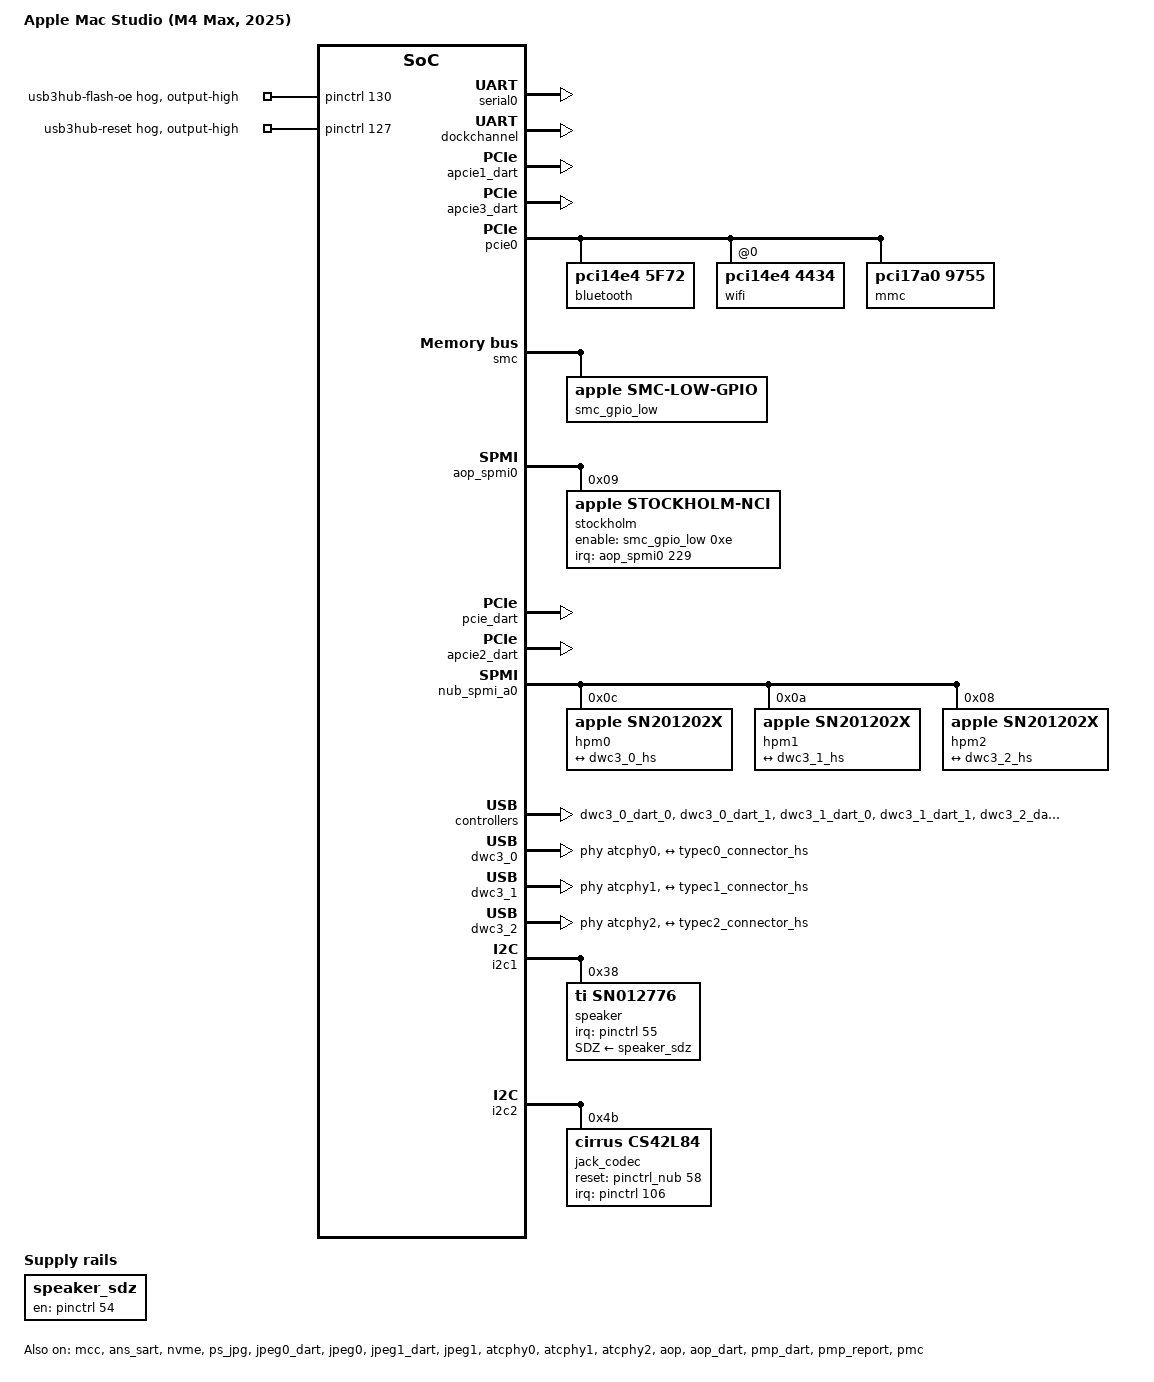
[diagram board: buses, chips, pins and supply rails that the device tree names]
// SPDX-License-Identifier: GPL-2.0+ OR MIT
/*
 * Mac Studio (M4 Max, 2025)
 *
 * target-type: J575c
 *
 * The J616c's T6041 wiring with the desktop layout of the J773s and the
 * other Mac Studio trees, checked against the J575c ADT (macOS 27.0.1,
 * 26A434). Comments name the ADT node a value comes from.
 *
 * Copyright The Asahi Linux Contributors
 */

/dts-v1/;

#include "t6041.dtsi"
#include "t6041-j614-j616-j575-scaler.dtsi"
#include "t604x-j575-j773.dtsi"
#include "t6041-j616c-ane.dtsi"
#include <dt-bindings/gpio/gpio.h>
#include <dt-bindings/thermal/thermal.h>

/ {
	compatible = "apple,j575c", "apple,t6041", "apple,arm-platform";
	model = "Apple Mac Studio (M4 Max, 2025)";

	aliases {
		serial0 = &dockchannel;
		serial1 = &serial0;
		wifi0 = "/pcie@1cb0000000/pci@0,0/wifi@0,0";
		bluetooth0 = "/pcie@1cb0000000/pci@0,0/bluetooth@0,1";
		ethernet0 = &ethernet0;
		gpu = &gpu;
		pmp = &pmp;
		aop = &aop;
		dcp = &dcp;
		disp0 = &display;
		disp0-piodma = &disp0_piodma;
	};

	chosen {
		stdout-path = "serial0:115200n8";
	};

	reserved-memory {
		#address-cells = <2>;
		#size-cells = <2>;
		ranges;
	};

	serial0: serial@429200000 {
		compatible = "apple,s5l-uart";
		reg = <0x4 0x29200000 0x0 0x1000>;
		reg-io-width = <4>;
		interrupt-parent = <&aic>;
		interrupts = <AIC_IRQ 1559 IRQ_TYPE_LEVEL_HIGH>;
		clocks = <&clkref>, <&clkref>;
		clock-names = "uart", "clk_uart_baud0";
	};

	/*
	 * DockChannel channel 1, the console the USB debug link carries
	 * (macvdmtool debugusb). ADT /arm-io/dockchannel-uart: block at
	 * 0x5_0882_8000 with one 0x10000 stride per channel, interrupt window
	 * 0x5_0880_c000 (0x18), IRQ 360, enable-sw-drain. Nothing drains it
	 * unless a host reads the link, so TX must never wait.
	 */
	dockchannel: serial@50883c000 {
		compatible = "apple,dockchannel-uart";
		reg = <0x5 0x0883c000 0x0 0x4000>,
		      <0x5 0x08838000 0x0 0x4000>,
		      <0x5 0x0880c000 0x0 0x18>;
		reg-names = "data", "config", "irq";
		interrupt-parent = <&aic>;
		interrupts = <AIC_IRQ 360 IRQ_TYPE_LEVEL_HIGH>;
		apple,channel = <1>;
		apple,sw-drain;
		apple,tx-never-wait;
	};

	/*
	 * The M4 Max MacBook Pros' CPU zones (t6041-j614c-j616c.dtsi): the same
	 * T6041, the same SMC sensor keys in the same order, the same ADT die
	 * limits. The PMP fast die loop runs in front of them, as there.
	 */
	thermal-zones {
		/*
		 * The PMP's fast die-temperature loop (apple,fast-die-effort)
		 * holds its hot-spot sensors at the ADT fast-die-ctrl-loop target
		 * of 110 C, as on macOS, and these zones are the backstop behind
		 * it. The ADT (temp-sensor) gives the J614c and J616c the M4
		 * Pro's die limits: 110 C target, 125 C maximum (sochot).
		 *
		 * - The SMC sensors read a few degrees above the PMP's: with the
		 *   PMP alone, an all-core load holds TCMz at 112 C. The zones
		 *   switch on at 112 C and control at 116 C, so the PMP keeps the
		 *   fast control. Switched on from 75 C, the power allocator
		 *   trimmed far below its control point and took over: it held
		 *   the E cluster at 1.02 GHz, which the PMP leaves at 2.59 GHz.
		 * - A zone per SMC core-die sensor throttles only the cluster its
		 *   sensor sits on: Tpx0-5 follow a load on P0, Tpx8-D one on P1,
		 *   Tex0-3 the E cluster. The die zone on TCMz, their maximum,
		 *   throttles all three. The 1 s samples jump by about 10 C, so
		 *   the zones are integral-led.
		 * - The SMC fans follow a power-weighted hot spot (dDT*), not
		 *   TCMz, and ramp once the CPU runs near 110 C at high power, as
		 *   on macOS.
		 * - sustainable-power is what macOS sustained on a J614c under an
		 *   all-core FMA load: 48-51 W, TCMz 105-110 C. The P clusters
		 *   share one rail meter (PHPC), which reads 25 W with either
		 *   cluster loaded alone, and the E cluster adds about 2 W: 24 W
		 *   per P cluster and 2 W for E.
		 * - Hot at 120 C only reports; critical is the sochot level, after
		 *   three samples.
		 */
		cpu-die-thermal {
			polling-delay-passive = <1000>;
			polling-delay = <1000>;
			integral-time-constant-ms = <20000>;
			critical-samples = <3>;
			sustainable-power = <48000>;
			thermal-sensors = <&smc_hwmon 0>;	/* TCMz */

			trips {
				cpu_die_switch_on: cpu-die-switch-on {
					temperature = <112000>;
					hysteresis = <2000>;
					type = "passive";
				};

				cpu_die_passive: cpu-die-passive {
					temperature = <116000>;
					hysteresis = <5000>;
					type = "passive";
				};

				cpu-die-hot {
					temperature = <120000>;
					hysteresis = <2000>;
					type = "hot";
				};

				cpu-die-critical {
					temperature = <125000>;
					hysteresis = <0>;
					type = "critical";
				};
			};

			cooling-maps {
				map-e {
					trip = <&cpu_die_passive>;
					cooling-device =
						<&cpu_e0 THERMAL_NO_LIMIT THERMAL_NO_LIMIT>,
						<&cpu_e1 THERMAL_NO_LIMIT THERMAL_NO_LIMIT>,
						<&cpu_e2 THERMAL_NO_LIMIT THERMAL_NO_LIMIT>,
						<&cpu_e3 THERMAL_NO_LIMIT THERMAL_NO_LIMIT>;
				};

				map-p0 {
					trip = <&cpu_die_passive>;
					cooling-device =
						<&cpu_p00 THERMAL_NO_LIMIT THERMAL_NO_LIMIT>,
						<&cpu_p01 THERMAL_NO_LIMIT THERMAL_NO_LIMIT>,
						<&cpu_p02 THERMAL_NO_LIMIT THERMAL_NO_LIMIT>,
						<&cpu_p03 THERMAL_NO_LIMIT THERMAL_NO_LIMIT>,
						<&cpu_p04 THERMAL_NO_LIMIT THERMAL_NO_LIMIT>,
						<&cpu_p05 THERMAL_NO_LIMIT THERMAL_NO_LIMIT>;
				};

				map-p1 {
					trip = <&cpu_die_passive>;
					cooling-device =
						<&cpu_p10 THERMAL_NO_LIMIT THERMAL_NO_LIMIT>,
						<&cpu_p11 THERMAL_NO_LIMIT THERMAL_NO_LIMIT>,
						<&cpu_p12 THERMAL_NO_LIMIT THERMAL_NO_LIMIT>,
						<&cpu_p13 THERMAL_NO_LIMIT THERMAL_NO_LIMIT>,
						<&cpu_p14 THERMAL_NO_LIMIT THERMAL_NO_LIMIT>,
						<&cpu_p15 THERMAL_NO_LIMIT THERMAL_NO_LIMIT>;
				};
			};
		};

		cpu-e0-thermal {
			polling-delay-passive = <1000>;
			polling-delay = <1000>;
			integral-time-constant-ms = <20000>;
			critical-samples = <3>;
			sustainable-power = <2000>;
			thermal-sensors = <&smc_hwmon 14>;	/* Tex0 */

			trips {
				cpu_e0_switch_on: trip-switch-on {
					temperature = <112000>;
					hysteresis = <2000>;
					type = "passive";
				};

				cpu_e0_passive: trip-passive {
					temperature = <116000>;
					hysteresis = <5000>;
					type = "passive";
				};

				trip-hot {
					temperature = <120000>;
					hysteresis = <2000>;
					type = "hot";
				};

				trip-critical {
					temperature = <125000>;
					hysteresis = <0>;
					type = "critical";
				};
			};

			cooling-maps {
				map-e {
					trip = <&cpu_e0_passive>;
					cooling-device =
						<&cpu_e0 THERMAL_NO_LIMIT THERMAL_NO_LIMIT>,
						<&cpu_e1 THERMAL_NO_LIMIT THERMAL_NO_LIMIT>,
						<&cpu_e2 THERMAL_NO_LIMIT THERMAL_NO_LIMIT>,
						<&cpu_e3 THERMAL_NO_LIMIT THERMAL_NO_LIMIT>;
				};
			};
		};

		cpu-e1-thermal {
			polling-delay-passive = <1000>;
			polling-delay = <1000>;
			integral-time-constant-ms = <20000>;
			critical-samples = <3>;
			sustainable-power = <2000>;
			thermal-sensors = <&smc_hwmon 15>;	/* Tex1 */

			trips {
				cpu_e1_switch_on: trip-switch-on {
					temperature = <112000>;
					hysteresis = <2000>;
					type = "passive";
				};

				cpu_e1_passive: trip-passive {
					temperature = <116000>;
					hysteresis = <5000>;
					type = "passive";
				};

				trip-hot {
					temperature = <120000>;
					hysteresis = <2000>;
					type = "hot";
				};

				trip-critical {
					temperature = <125000>;
					hysteresis = <0>;
					type = "critical";
				};
			};

			cooling-maps {
				map-e {
					trip = <&cpu_e1_passive>;
					cooling-device =
						<&cpu_e0 THERMAL_NO_LIMIT THERMAL_NO_LIMIT>,
						<&cpu_e1 THERMAL_NO_LIMIT THERMAL_NO_LIMIT>,
						<&cpu_e2 THERMAL_NO_LIMIT THERMAL_NO_LIMIT>,
						<&cpu_e3 THERMAL_NO_LIMIT THERMAL_NO_LIMIT>;
				};
			};
		};

		cpu-e2-thermal {
			polling-delay-passive = <1000>;
			polling-delay = <1000>;
			integral-time-constant-ms = <20000>;
			critical-samples = <3>;
			sustainable-power = <2000>;
			thermal-sensors = <&smc_hwmon 16>;	/* Tex2 */

			trips {
				cpu_e2_switch_on: trip-switch-on {
					temperature = <112000>;
					hysteresis = <2000>;
					type = "passive";
				};

				cpu_e2_passive: trip-passive {
					temperature = <116000>;
					hysteresis = <5000>;
					type = "passive";
				};

				trip-hot {
					temperature = <120000>;
					hysteresis = <2000>;
					type = "hot";
				};

				trip-critical {
					temperature = <125000>;
					hysteresis = <0>;
					type = "critical";
				};
			};

			cooling-maps {
				map-e {
					trip = <&cpu_e2_passive>;
					cooling-device =
						<&cpu_e0 THERMAL_NO_LIMIT THERMAL_NO_LIMIT>,
						<&cpu_e1 THERMAL_NO_LIMIT THERMAL_NO_LIMIT>,
						<&cpu_e2 THERMAL_NO_LIMIT THERMAL_NO_LIMIT>,
						<&cpu_e3 THERMAL_NO_LIMIT THERMAL_NO_LIMIT>;
				};
			};
		};

		cpu-e3-thermal {
			polling-delay-passive = <1000>;
			polling-delay = <1000>;
			integral-time-constant-ms = <20000>;
			critical-samples = <3>;
			sustainable-power = <2000>;
			thermal-sensors = <&smc_hwmon 17>;	/* Tex3 */

			trips {
				cpu_e3_switch_on: trip-switch-on {
					temperature = <112000>;
					hysteresis = <2000>;
					type = "passive";
				};

				cpu_e3_passive: trip-passive {
					temperature = <116000>;
					hysteresis = <5000>;
					type = "passive";
				};

				trip-hot {
					temperature = <120000>;
					hysteresis = <2000>;
					type = "hot";
				};

				trip-critical {
					temperature = <125000>;
					hysteresis = <0>;
					type = "critical";
				};
			};

			cooling-maps {
				map-e {
					trip = <&cpu_e3_passive>;
					cooling-device =
						<&cpu_e0 THERMAL_NO_LIMIT THERMAL_NO_LIMIT>,
						<&cpu_e1 THERMAL_NO_LIMIT THERMAL_NO_LIMIT>,
						<&cpu_e2 THERMAL_NO_LIMIT THERMAL_NO_LIMIT>,
						<&cpu_e3 THERMAL_NO_LIMIT THERMAL_NO_LIMIT>;
				};
			};
		};

		cpu-p00-thermal {
			polling-delay-passive = <1000>;
			polling-delay = <1000>;
			integral-time-constant-ms = <20000>;
			critical-samples = <3>;
			sustainable-power = <24000>;
			thermal-sensors = <&smc_hwmon 2>;	/* Tpx0 */

			trips {
				cpu_p00_switch_on: trip-switch-on {
					temperature = <112000>;
					hysteresis = <2000>;
					type = "passive";
				};

				cpu_p00_passive: trip-passive {
					temperature = <116000>;
					hysteresis = <5000>;
					type = "passive";
				};

				trip-hot {
					temperature = <120000>;
					hysteresis = <2000>;
					type = "hot";
				};

				trip-critical {
					temperature = <125000>;
					hysteresis = <0>;
					type = "critical";
				};
			};

			cooling-maps {
				map-p0 {
					trip = <&cpu_p00_passive>;
					cooling-device =
						<&cpu_p00 THERMAL_NO_LIMIT THERMAL_NO_LIMIT>,
						<&cpu_p01 THERMAL_NO_LIMIT THERMAL_NO_LIMIT>,
						<&cpu_p02 THERMAL_NO_LIMIT THERMAL_NO_LIMIT>,
						<&cpu_p03 THERMAL_NO_LIMIT THERMAL_NO_LIMIT>,
						<&cpu_p04 THERMAL_NO_LIMIT THERMAL_NO_LIMIT>,
						<&cpu_p05 THERMAL_NO_LIMIT THERMAL_NO_LIMIT>;
				};
			};
		};

		cpu-p01-thermal {
			polling-delay-passive = <1000>;
			polling-delay = <1000>;
			integral-time-constant-ms = <20000>;
			critical-samples = <3>;
			sustainable-power = <24000>;
			thermal-sensors = <&smc_hwmon 3>;	/* Tpx1 */

			trips {
				cpu_p01_switch_on: trip-switch-on {
					temperature = <112000>;
					hysteresis = <2000>;
					type = "passive";
				};

				cpu_p01_passive: trip-passive {
					temperature = <116000>;
					hysteresis = <5000>;
					type = "passive";
				};

				trip-hot {
					temperature = <120000>;
					hysteresis = <2000>;
					type = "hot";
				};

				trip-critical {
					temperature = <125000>;
					hysteresis = <0>;
					type = "critical";
				};
			};

			cooling-maps {
				map-p0 {
					trip = <&cpu_p01_passive>;
					cooling-device =
						<&cpu_p00 THERMAL_NO_LIMIT THERMAL_NO_LIMIT>,
						<&cpu_p01 THERMAL_NO_LIMIT THERMAL_NO_LIMIT>,
						<&cpu_p02 THERMAL_NO_LIMIT THERMAL_NO_LIMIT>,
						<&cpu_p03 THERMAL_NO_LIMIT THERMAL_NO_LIMIT>,
						<&cpu_p04 THERMAL_NO_LIMIT THERMAL_NO_LIMIT>,
						<&cpu_p05 THERMAL_NO_LIMIT THERMAL_NO_LIMIT>;
				};
			};
		};

		cpu-p02-thermal {
			polling-delay-passive = <1000>;
			polling-delay = <1000>;
			integral-time-constant-ms = <20000>;
			critical-samples = <3>;
			sustainable-power = <24000>;
			thermal-sensors = <&smc_hwmon 4>;	/* Tpx2 */

			trips {
				cpu_p02_switch_on: trip-switch-on {
					temperature = <112000>;
					hysteresis = <2000>;
					type = "passive";
				};

				cpu_p02_passive: trip-passive {
					temperature = <116000>;
					hysteresis = <5000>;
					type = "passive";
				};

				trip-hot {
					temperature = <120000>;
					hysteresis = <2000>;
					type = "hot";
				};

				trip-critical {
					temperature = <125000>;
					hysteresis = <0>;
					type = "critical";
				};
			};

			cooling-maps {
				map-p0 {
					trip = <&cpu_p02_passive>;
					cooling-device =
						<&cpu_p00 THERMAL_NO_LIMIT THERMAL_NO_LIMIT>,
						<&cpu_p01 THERMAL_NO_LIMIT THERMAL_NO_LIMIT>,
						<&cpu_p02 THERMAL_NO_LIMIT THERMAL_NO_LIMIT>,
						<&cpu_p03 THERMAL_NO_LIMIT THERMAL_NO_LIMIT>,
						<&cpu_p04 THERMAL_NO_LIMIT THERMAL_NO_LIMIT>,
						<&cpu_p05 THERMAL_NO_LIMIT THERMAL_NO_LIMIT>;
				};
			};
		};

		cpu-p03-thermal {
			polling-delay-passive = <1000>;
			polling-delay = <1000>;
			integral-time-constant-ms = <20000>;
			critical-samples = <3>;
			sustainable-power = <24000>;
			thermal-sensors = <&smc_hwmon 5>;	/* Tpx3 */

			trips {
				cpu_p03_switch_on: trip-switch-on {
					temperature = <112000>;
					hysteresis = <2000>;
					type = "passive";
				};

				cpu_p03_passive: trip-passive {
					temperature = <116000>;
					hysteresis = <5000>;
					type = "passive";
				};

				trip-hot {
					temperature = <120000>;
					hysteresis = <2000>;
					type = "hot";
				};

				trip-critical {
					temperature = <125000>;
					hysteresis = <0>;
					type = "critical";
				};
			};

			cooling-maps {
				map-p0 {
					trip = <&cpu_p03_passive>;
					cooling-device =
						<&cpu_p00 THERMAL_NO_LIMIT THERMAL_NO_LIMIT>,
						<&cpu_p01 THERMAL_NO_LIMIT THERMAL_NO_LIMIT>,
						<&cpu_p02 THERMAL_NO_LIMIT THERMAL_NO_LIMIT>,
						<&cpu_p03 THERMAL_NO_LIMIT THERMAL_NO_LIMIT>,
						<&cpu_p04 THERMAL_NO_LIMIT THERMAL_NO_LIMIT>,
						<&cpu_p05 THERMAL_NO_LIMIT THERMAL_NO_LIMIT>;
				};
			};
		};

		cpu-p04-thermal {
			polling-delay-passive = <1000>;
			polling-delay = <1000>;
			integral-time-constant-ms = <20000>;
			critical-samples = <3>;
			sustainable-power = <24000>;
			thermal-sensors = <&smc_hwmon 6>;	/* Tpx4 */

			trips {
				cpu_p04_switch_on: trip-switch-on {
					temperature = <112000>;
					hysteresis = <2000>;
					type = "passive";
				};

				cpu_p04_passive: trip-passive {
					temperature = <116000>;
					hysteresis = <5000>;
					type = "passive";
				};

				trip-hot {
					temperature = <120000>;
					hysteresis = <2000>;
					type = "hot";
				};

				trip-critical {
					temperature = <125000>;
					hysteresis = <0>;
					type = "critical";
				};
			};

			cooling-maps {
				map-p0 {
					trip = <&cpu_p04_passive>;
					cooling-device =
						<&cpu_p00 THERMAL_NO_LIMIT THERMAL_NO_LIMIT>,
						<&cpu_p01 THERMAL_NO_LIMIT THERMAL_NO_LIMIT>,
						<&cpu_p02 THERMAL_NO_LIMIT THERMAL_NO_LIMIT>,
						<&cpu_p03 THERMAL_NO_LIMIT THERMAL_NO_LIMIT>,
						<&cpu_p04 THERMAL_NO_LIMIT THERMAL_NO_LIMIT>,
						<&cpu_p05 THERMAL_NO_LIMIT THERMAL_NO_LIMIT>;
				};
			};
		};

		cpu-p05-thermal {
			polling-delay-passive = <1000>;
			polling-delay = <1000>;
			integral-time-constant-ms = <20000>;
			critical-samples = <3>;
			sustainable-power = <24000>;
			thermal-sensors = <&smc_hwmon 7>;	/* Tpx5 */

			trips {
				cpu_p05_switch_on: trip-switch-on {
					temperature = <112000>;
					hysteresis = <2000>;
					type = "passive";
				};

				cpu_p05_passive: trip-passive {
					temperature = <116000>;
					hysteresis = <5000>;
					type = "passive";
				};

				trip-hot {
					temperature = <120000>;
					hysteresis = <2000>;
					type = "hot";
				};

				trip-critical {
					temperature = <125000>;
					hysteresis = <0>;
					type = "critical";
				};
			};

			cooling-maps {
				map-p0 {
					trip = <&cpu_p05_passive>;
					cooling-device =
						<&cpu_p00 THERMAL_NO_LIMIT THERMAL_NO_LIMIT>,
						<&cpu_p01 THERMAL_NO_LIMIT THERMAL_NO_LIMIT>,
						<&cpu_p02 THERMAL_NO_LIMIT THERMAL_NO_LIMIT>,
						<&cpu_p03 THERMAL_NO_LIMIT THERMAL_NO_LIMIT>,
						<&cpu_p04 THERMAL_NO_LIMIT THERMAL_NO_LIMIT>,
						<&cpu_p05 THERMAL_NO_LIMIT THERMAL_NO_LIMIT>;
				};
			};
		};

		cpu-p10-thermal {
			polling-delay-passive = <1000>;
			polling-delay = <1000>;
			integral-time-constant-ms = <20000>;
			critical-samples = <3>;
			sustainable-power = <24000>;
			thermal-sensors = <&smc_hwmon 8>;	/* Tpx8 */

			trips {
				cpu_p10_switch_on: trip-switch-on {
					temperature = <112000>;
					hysteresis = <2000>;
					type = "passive";
				};

				cpu_p10_passive: trip-passive {
					temperature = <116000>;
					hysteresis = <5000>;
					type = "passive";
				};

				trip-hot {
					temperature = <120000>;
					hysteresis = <2000>;
					type = "hot";
				};

				trip-critical {
					temperature = <125000>;
					hysteresis = <0>;
					type = "critical";
				};
			};

			cooling-maps {
				map-p1 {
					trip = <&cpu_p10_passive>;
					cooling-device =
						<&cpu_p10 THERMAL_NO_LIMIT THERMAL_NO_LIMIT>,
						<&cpu_p11 THERMAL_NO_LIMIT THERMAL_NO_LIMIT>,
						<&cpu_p12 THERMAL_NO_LIMIT THERMAL_NO_LIMIT>,
						<&cpu_p13 THERMAL_NO_LIMIT THERMAL_NO_LIMIT>,
						<&cpu_p14 THERMAL_NO_LIMIT THERMAL_NO_LIMIT>,
						<&cpu_p15 THERMAL_NO_LIMIT THERMAL_NO_LIMIT>;
				};
			};
		};

		cpu-p11-thermal {
			polling-delay-passive = <1000>;
			polling-delay = <1000>;
			integral-time-constant-ms = <20000>;
			critical-samples = <3>;
			sustainable-power = <24000>;
			thermal-sensors = <&smc_hwmon 9>;	/* Tpx9 */

			trips {
				cpu_p11_switch_on: trip-switch-on {
					temperature = <112000>;
					hysteresis = <2000>;
					type = "passive";
				};

				cpu_p11_passive: trip-passive {
					temperature = <116000>;
					hysteresis = <5000>;
					type = "passive";
				};

				trip-hot {
					temperature = <120000>;
					hysteresis = <2000>;
					type = "hot";
				};

				trip-critical {
					temperature = <125000>;
					hysteresis = <0>;
					type = "critical";
				};
			};

			cooling-maps {
				map-p1 {
					trip = <&cpu_p11_passive>;
					cooling-device =
						<&cpu_p10 THERMAL_NO_LIMIT THERMAL_NO_LIMIT>,
						<&cpu_p11 THERMAL_NO_LIMIT THERMAL_NO_LIMIT>,
						<&cpu_p12 THERMAL_NO_LIMIT THERMAL_NO_LIMIT>,
						<&cpu_p13 THERMAL_NO_LIMIT THERMAL_NO_LIMIT>,
						<&cpu_p14 THERMAL_NO_LIMIT THERMAL_NO_LIMIT>,
						<&cpu_p15 THERMAL_NO_LIMIT THERMAL_NO_LIMIT>;
				};
			};
		};

		cpu-p12-thermal {
			polling-delay-passive = <1000>;
			polling-delay = <1000>;
			integral-time-constant-ms = <20000>;
			critical-samples = <3>;
			sustainable-power = <24000>;
			thermal-sensors = <&smc_hwmon 10>;	/* TpxA */

			trips {
				cpu_p12_switch_on: trip-switch-on {
					temperature = <112000>;
					hysteresis = <2000>;
					type = "passive";
				};

				cpu_p12_passive: trip-passive {
					temperature = <116000>;
					hysteresis = <5000>;
					type = "passive";
				};

				trip-hot {
					temperature = <120000>;
					hysteresis = <2000>;
					type = "hot";
				};

				trip-critical {
					temperature = <125000>;
					hysteresis = <0>;
					type = "critical";
				};
			};

			cooling-maps {
				map-p1 {
					trip = <&cpu_p12_passive>;
					cooling-device =
						<&cpu_p10 THERMAL_NO_LIMIT THERMAL_NO_LIMIT>,
						<&cpu_p11 THERMAL_NO_LIMIT THERMAL_NO_LIMIT>,
						<&cpu_p12 THERMAL_NO_LIMIT THERMAL_NO_LIMIT>,
						<&cpu_p13 THERMAL_NO_LIMIT THERMAL_NO_LIMIT>,
						<&cpu_p14 THERMAL_NO_LIMIT THERMAL_NO_LIMIT>,
						<&cpu_p15 THERMAL_NO_LIMIT THERMAL_NO_LIMIT>;
				};
			};
		};

		cpu-p13-thermal {
			polling-delay-passive = <1000>;
			polling-delay = <1000>;
			integral-time-constant-ms = <20000>;
			critical-samples = <3>;
			sustainable-power = <24000>;
			thermal-sensors = <&smc_hwmon 11>;	/* TpxB */

			trips {
				cpu_p13_switch_on: trip-switch-on {
					temperature = <112000>;
					hysteresis = <2000>;
					type = "passive";
				};

				cpu_p13_passive: trip-passive {
					temperature = <116000>;
					hysteresis = <5000>;
					type = "passive";
				};

				trip-hot {
					temperature = <120000>;
					hysteresis = <2000>;
					type = "hot";
				};

				trip-critical {
					temperature = <125000>;
					hysteresis = <0>;
					type = "critical";
				};
			};

			cooling-maps {
				map-p1 {
					trip = <&cpu_p13_passive>;
					cooling-device =
						<&cpu_p10 THERMAL_NO_LIMIT THERMAL_NO_LIMIT>,
						<&cpu_p11 THERMAL_NO_LIMIT THERMAL_NO_LIMIT>,
						<&cpu_p12 THERMAL_NO_LIMIT THERMAL_NO_LIMIT>,
						<&cpu_p13 THERMAL_NO_LIMIT THERMAL_NO_LIMIT>,
						<&cpu_p14 THERMAL_NO_LIMIT THERMAL_NO_LIMIT>,
						<&cpu_p15 THERMAL_NO_LIMIT THERMAL_NO_LIMIT>;
				};
			};
		};

		cpu-p14-thermal {
			polling-delay-passive = <1000>;
			polling-delay = <1000>;
			integral-time-constant-ms = <20000>;
			critical-samples = <3>;
			sustainable-power = <24000>;
			thermal-sensors = <&smc_hwmon 12>;	/* TpxC */

			trips {
				cpu_p14_switch_on: trip-switch-on {
					temperature = <112000>;
					hysteresis = <2000>;
					type = "passive";
				};

				cpu_p14_passive: trip-passive {
					temperature = <116000>;
					hysteresis = <5000>;
					type = "passive";
				};

				trip-hot {
					temperature = <120000>;
					hysteresis = <2000>;
					type = "hot";
				};

				trip-critical {
					temperature = <125000>;
					hysteresis = <0>;
					type = "critical";
				};
			};

			cooling-maps {
				map-p1 {
					trip = <&cpu_p14_passive>;
					cooling-device =
						<&cpu_p10 THERMAL_NO_LIMIT THERMAL_NO_LIMIT>,
						<&cpu_p11 THERMAL_NO_LIMIT THERMAL_NO_LIMIT>,
						<&cpu_p12 THERMAL_NO_LIMIT THERMAL_NO_LIMIT>,
						<&cpu_p13 THERMAL_NO_LIMIT THERMAL_NO_LIMIT>,
						<&cpu_p14 THERMAL_NO_LIMIT THERMAL_NO_LIMIT>,
						<&cpu_p15 THERMAL_NO_LIMIT THERMAL_NO_LIMIT>;
				};
			};
		};

		cpu-p15-thermal {
			polling-delay-passive = <1000>;
			polling-delay = <1000>;
			integral-time-constant-ms = <20000>;
			critical-samples = <3>;
			sustainable-power = <24000>;
			thermal-sensors = <&smc_hwmon 13>;	/* TpxD */

			trips {
				cpu_p15_switch_on: trip-switch-on {
					temperature = <112000>;
					hysteresis = <2000>;
					type = "passive";
				};

				cpu_p15_passive: trip-passive {
					temperature = <116000>;
					hysteresis = <5000>;
					type = "passive";
				};

				trip-hot {
					temperature = <120000>;
					hysteresis = <2000>;
					type = "hot";
				};

				trip-critical {
					temperature = <125000>;
					hysteresis = <0>;
					type = "critical";
				};
			};

			cooling-maps {
				map-p1 {
					trip = <&cpu_p15_passive>;
					cooling-device =
						<&cpu_p10 THERMAL_NO_LIMIT THERMAL_NO_LIMIT>,
						<&cpu_p11 THERMAL_NO_LIMIT THERMAL_NO_LIMIT>,
						<&cpu_p12 THERMAL_NO_LIMIT THERMAL_NO_LIMIT>,
						<&cpu_p13 THERMAL_NO_LIMIT THERMAL_NO_LIMIT>,
						<&cpu_p14 THERMAL_NO_LIMIT THERMAL_NO_LIMIT>,
						<&cpu_p15 THERMAL_NO_LIMIT THERMAL_NO_LIMIT>;
				};
			};
		};
	};
};

&cpuidle {
	status = "okay";
};

&wdt {
	timeout-sec = <140>;
};

&smc {
	status = "okay";

	smc_gpio_low: gpio-low {
		compatible = "apple,smc-low-gpio";
		gpio-controller;
		#gpio-cells = <2>;
		apple,output-templates = <0xe 0x00800000>;
	};
};

/*
 * ADT aop-spmi0/stockholm-spmi: the Stockholm NFC controller at SPMI 9, its
 * interrupts in 224-230 and its enable on SMC gp0e, as on the J773s.
 */
&aop_spmi0 {
	status = "okay";

	stockholm: nfc@9 {
		compatible = "apple,stockholm-nci";
		reg = <9 SPMI_USID>;
		interrupt-parent = <&aop_spmi0>;
		interrupts = <229 IRQ_TYPE_EDGE_RISING>,
			     <230 IRQ_TYPE_EDGE_RISING>,
			     <227 IRQ_TYPE_EDGE_RISING>;
		interrupt-names = "host-wake", "data-ready", "error";
		enable-gpios = <&smc_gpio_low 0xe GPIO_ACTIVE_HIGH>;
	};
};

&smc_mbox {
	status = "okay";
};

&nub_spmi0 {
	status = "okay";
};

&mcc {
	status = "okay";
};

/* The J616c's CPU keys and two fans, all read back on a J575c */
&smc_hwmon {
	temperature-TCMz {
		apple,key-id = "TCMz";
		label = "CPU Die Max";
	};

	temperature-TCMb {
		apple,key-id = "TCMb";
		label = "CPU TCMb";
	};

	temperature-Tpx0 {
		apple,key-id = "Tpx0";
		label = "CPU Tpx0";
	};

	temperature-Tpx1 {
		apple,key-id = "Tpx1";
		label = "CPU Tpx1";
	};

	temperature-Tpx2 {
		apple,key-id = "Tpx2";
		label = "CPU Tpx2";
	};

	temperature-Tpx3 {
		apple,key-id = "Tpx3";
		label = "CPU Tpx3";
	};

	temperature-Tpx4 {
		apple,key-id = "Tpx4";
		label = "CPU Tpx4";
	};

	temperature-Tpx5 {
		apple,key-id = "Tpx5";
		label = "CPU Tpx5";
	};

	temperature-Tpx8 {
		apple,key-id = "Tpx8";
		label = "CPU Tpx8";
	};

	temperature-Tpx9 {
		apple,key-id = "Tpx9";
		label = "CPU Tpx9";
	};

	temperature-TpxA {
		apple,key-id = "TpxA";
		label = "CPU TpxA";
	};

	temperature-TpxB {
		apple,key-id = "TpxB";
		label = "CPU TpxB";
	};

	temperature-TpxC {
		apple,key-id = "TpxC";
		label = "CPU TpxC";
	};

	temperature-TpxD {
		apple,key-id = "TpxD";
		label = "CPU TpxD";
	};

	temperature-Tex0 {
		apple,key-id = "Tex0";
		label = "CPU Tex0";
	};

	temperature-Tex1 {
		apple,key-id = "Tex1";
		label = "CPU Tex1";
	};

	temperature-Tex2 {
		apple,key-id = "Tex2";
		label = "CPU Tex2";
	};

	temperature-Tex3 {
		apple,key-id = "Tex3";
		label = "CPU Tex3";
	};
};

#include "hwmon-common.dtsi"
#include "hwmon-fan-dual.dtsi"

&pinctrl {
	status = "okay";

	wifi_clkreq_pins: wifi-clkreq-pins {
		pinmux = <APPLE_PINMUX(0, 1)>;
	};

	/* ADT pci-bridge0..3 function-clkreq: port N's CLKREQ is AP pin N */
	sd_clkreq_pins: sd-clkreq-pins {
		pinmux = <APPLE_PINMUX(1, 1)>;
	};

	eth_clkreq_pins: eth-clkreq-pins {
		pinmux = <APPLE_PINMUX(2, 1)>;
	};

	xhci_clkreq_pins: xhci-clkreq-pins {
		pinmux = <APPLE_PINMUX(3, 1)>;
	};

	/*
	 * The GL3590 hub behind the ASM3142 (back USB-A, front USB-C) loads its
	 * firmware from its own SPI flash. ADT /arm-io/spi3/usb3hub-flash/usb3hub-fw:
	 * usb3hub_rst is AP pin 127 and usb3hub_flash_oe AP pin 130. The boot
	 * loader leaves both low, which holds the hub in reset; with both high the
	 * hub enumerates (05ac:8009 USB2, 05ac:800a USB3 Gen2).
	 */
	usb3hub-flash-oe-hog {
		gpio-hog;
		gpios = <130 GPIO_ACTIVE_HIGH>;
		output-high;
		line-name = "usb3hub-flash-oe";
	};

	usb3hub-reset-hog {
		gpio-hog;
		gpios = <127 GPIO_ACTIVE_HIGH>;
		output-high;
		line-name = "usb3hub-reset";
	};
};

&pinctrl_nub {
	status = "okay";
	/delete-property/ interrupt-controller;
	/delete-property/ #interrupt-cells;
	/delete-property/ interrupts;
};

&pcie_dart {
	status = "okay";
};

&apcie2_dart {
	status = "okay";
};

/ {
	/* ADT dart-apcie1: the DART of port 1, the SD reader */
	apcie1_dart: iommu@411000000 {
		compatible = "apple,t6041-dart", "apple,t8110-dart";
		reg = <0x4 0x11000000 0x0 0x20000>;
		#iommu-cells = <1>;
		interrupt-parent = <&aic>;
		interrupts = <AIC_IRQ 1733 IRQ_TYPE_LEVEL_HIGH>;
	};

	/* ADT dart-apcie3: the DART of port 3 */
	apcie3_dart: iommu@413000000 {
		compatible = "apple,t6041-dart", "apple,t8110-dart";
		reg = <0x4 0x13000000 0x0 0x20000>;
		#iommu-cells = <1>;
		interrupt-parent = <&aic>;
		interrupts = <AIC_IRQ 1751 IRQ_TYPE_LEVEL_HIGH>;
	};

	/*
	 * The Mac Studio layout of the J575d: Wi-Fi and Bluetooth on port 0,
	 * the SD reader on port 1, Ethernet on port 2 and the xHCI of the
	 * USB-A and front USB-C ports on port 3. The boot loader finds the
	 * Wi-Fi, Bluetooth and Ethernet nodes through the aliases.
	 */
	pcie0: pcie@1cb0000000 {
		compatible = "apple,t6041-pcie", "apple,t6020-pcie";
		reg = <0x1c 0xb0000000 0x0 0x1000000>,
		      <0x4 0x14000000 0x0 0x4000>,
		      <0x4 0x10028000 0x0 0x4000>,
		      <0x4 0x11028000 0x0 0x4000>,
		      <0x4 0x12028000 0x0 0x4000>,
		      <0x4 0x13028000 0x0 0x4000>,
		      <0x4 0x17020000 0x0 0x4000>,
		      <0x4 0x17024000 0x0 0x4000>,
		      <0x4 0x17028000 0x0 0x4000>,
		      <0x4 0x1702c000 0x0 0x4000>;
		reg-names = "config", "rc",
			    "port0", "port1", "port2", "port3",
			    "phy0", "phy1", "phy2", "phy3";
		ranges = <0x43000000 0xb 0xc0000000 0xb 0xc0000000 0x0 0x20000000>,
			 <0x02000000 0x0 0x80000000 0xb 0x80000000 0x0 0x40000000>;
		pinctrl-names = "default";
		pinctrl-0 = <&wifi_clkreq_pins &sd_clkreq_pins &eth_clkreq_pins &xhci_clkreq_pins>;
		#address-cells = <3>;
		#size-cells = <2>;
		bus-range = <0 4>;
		iommu-map-mask = <0xffff>;
		iommu-map = <0x100 &pcie_dart 1 2>, <0x200 &apcie1_dart 1 1>,
			    <0x300 &apcie2_dart 1 1>, <0x400 &apcie3_dart 1 1>;
		msi-ranges = <&aic AIC_IRQ 2071 IRQ_TYPE_EDGE_RISING 32>;
		msi-parent = <&pcie0>;
		msi-controller;
		/* indexed by port, as in the J773s ADT */
		interrupts = <AIC_IRQ 1723 IRQ_TYPE_LEVEL_HIGH>,
			     <AIC_IRQ 1732 IRQ_TYPE_LEVEL_HIGH>,
			     <AIC_IRQ 1741 IRQ_TYPE_LEVEL_HIGH>,
			     <AIC_IRQ 1750 IRQ_TYPE_LEVEL_HIGH>;
		interrupt-parent = <&aic>;
		device_type = "pci";

		port00: pci@0,0 {
			reg = <0 0 0 0 0>;
			ranges;
			interrupt-map = <0 0 0 1 &port00 0 0 0 0>,
					<0 0 0 2 &port00 0 0 0 1>,
					<0 0 0 3 &port00 0 0 0 2>,
					<0 0 0 4 &port00 0 0 0 3>;
			interrupt-map-mask = <0 0 0 7>;
			#interrupt-cells = <1>;
			interrupt-controller;
			#address-cells = <3>;
			#size-cells = <2>;
			pwren-gpios = <&smc_gpio 0x13 GPIO_ACTIVE_HIGH>;
			reset-gpios = <&pinctrl 4 GPIO_ACTIVE_LOW>;
			device_type = "pci";

			bluetooth@0,1 {
				compatible = "pci14e4,5f72";
				reg = <0x100 0 0 0 0>;
				local-bd-address = [00 00 00 00 00 00];
				/* ADT wlan module-instance "aruba" */
				brcm,board-type = "apple,aruba";
				status = "okay";
			};

			wifi@0,0 {
				compatible = "pci14e4,4434", "brcm,bcm4329-fmac";
				reg = <0 0 0 0 0>;
				brcm,ccode-map-trivial;
				brcm,board-type = "apple,aruba";
			};
		};

		/*
		 * ADT pci-bridge1/pcie-sdreader: GL9755, PERST AP pin 5,
		 * sd_pwr_en SMC gP19
		 */
		port01: pci@1,0 {
			device_type = "pci";
			reg = <0x800 0 0 0 0>;
			reset-gpios = <&pinctrl 5 GPIO_ACTIVE_LOW>;
			bus-range = <2 2>;
			pwren-gpios = <&smc_gpio 0x19 GPIO_ACTIVE_HIGH>;
			#address-cells = <3>;
			#size-cells = <2>;
			ranges;
			interrupt-controller;
			#interrupt-cells = <1>;
			interrupt-map-mask = <0 0 0 7>;
			interrupt-map = <0 0 0 1 &port01 0 0 0 0>,
					<0 0 0 2 &port01 0 0 0 1>,
					<0 0 0 3 &port01 0 0 0 2>,
					<0 0 0 4 &port01 0 0 0 3>;

			mmc@0,0 {
				compatible = "pci17a0,9755";
				reg = <0x20000 0 0 0 0>;
				cd-inverted;
				wp-inverted;
			};
		};

		/* ADT pci-bridge2/lan-10gb: AQC113, PERST AP pin 6, no power */
		port02: pci@2,0 {
			device_type = "pci";
			reg = <0x1000 0 0 0 0>;
			reset-gpios = <&pinctrl 6 GPIO_ACTIVE_LOW>;
			bus-range = <3 3>;
			#address-cells = <3>;
			#size-cells = <2>;
			ranges;
			interrupt-controller;
			#interrupt-cells = <1>;
			interrupt-map-mask = <0 0 0 7>;
			interrupt-map = <0 0 0 1 &port02 0 0 0 0>,
					<0 0 0 2 &port02 0 0 0 1>,
					<0 0 0 3 &port02 0 0 0 2>,
					<0 0 0 4 &port02 0 0 0 3>;

			ethernet0: ethernet@0,0 {
				reg = <0x30000 0x0 0x0 0x0 0x0>;
				/* To be filled by the loader */
				local-mac-address = [00 10 18 00 00 00];
			};
		};

		/*
		 * ADT pci-bridge3/pcie-xhci: ASM3142, PERST AP pin 7,
		 * function-power_enable SMC gP16
		 */
		port03: pci@3,0 {
			device_type = "pci";
			reg = <0x1800 0 0 0 0>;
			reset-gpios = <&pinctrl 7 GPIO_ACTIVE_LOW>;
			bus-range = <4 4>;
			pwren-gpios = <&smc_gpio 0x16 GPIO_ACTIVE_HIGH>;
			#address-cells = <3>;
			#size-cells = <2>;
			ranges;
			interrupt-controller;
			#interrupt-cells = <1>;
			interrupt-map-mask = <0 0 0 7>;
			interrupt-map = <0 0 0 1 &port03 0 0 0 0>,
					<0 0 0 2 &port03 0 0 0 1>,
					<0 0 0 3 &port03 0 0 0 2>,
					<0 0 0 4 &port03 0 0 0 3>;
		};
	};
};

&ans_mbox {
	status = "okay";
};

&ans_sart {
	status = "okay";
};

&nvme {
	status = "okay";
};

/* Both JPEG engines; they have no board wiring. */
&ps_jpg {
	status = "okay";
};

&jpeg0_dart {
	status = "okay";
};

&jpeg0 {
	status = "okay";
};

&jpeg1_dart {
	status = "okay";
};

&jpeg1 {
	status = "okay";
};

/*
 * Three of the four back Thunderbolt ports, with the J773s's PD controllers
 * (nub-spmi-a0 0xc, 0xa and 0x8 for ATC0-2), as on the J616c.
 * t6041-j575c-atc3.dtsi adds the fourth (hpm3 at 0x6, ATC3), and
 * t6041-j575c-usb3.dtsi USB3 on all four.
 */
&nub_spmi_a0 {
	status = "okay";

	hpm0: usb-pd@c {
		compatible = "apple,sn201202x";
		reg = <0xc SPMI_USID>;
		interrupts = <11 IRQ_TYPE_EDGE_RISING>,
			     <13 IRQ_TYPE_EDGE_RISING>,
			     <17 IRQ_TYPE_EDGE_RISING>,
			     <19 IRQ_TYPE_EDGE_RISING>;
		interrupt-names = "irq", "select", "sleep", "wake";
		apple,event-irq-in-sleep;

		typec0: connector {
			compatible = "usb-c-connector";
			label = "USB-C Back 1";
			power-role = "dual";
			data-role = "dual";

			ports {
				#address-cells = <1>;
				#size-cells = <0>;

				port@0 {
					reg = <0>;
					typec0_connector_hs: endpoint {
						remote-endpoint = <&dwc3_0_hs>;
					};
				};
			};
		};
	};

	hpm1: usb-pd@a {
		compatible = "apple,sn201202x";
		reg = <0xa SPMI_USID>;
		interrupts = <37 IRQ_TYPE_EDGE_RISING>,
			     <39 IRQ_TYPE_EDGE_RISING>,
			     <43 IRQ_TYPE_EDGE_RISING>,
			     <45 IRQ_TYPE_EDGE_RISING>;
		interrupt-names = "irq", "select", "sleep", "wake";
		apple,event-irq-in-sleep;
		/* Retimer set up before Linux keeps SuperSpeed down until replugged. */
		apple,reset-inherited-usb2-connection;

		typec1: connector {
			compatible = "usb-c-connector";
			label = "USB-C Back 2";
			power-role = "dual";
			data-role = "dual";

			ports {
				#address-cells = <1>;
				#size-cells = <0>;

				port@0 {
					reg = <0>;
					typec1_connector_hs: endpoint {
						remote-endpoint = <&dwc3_1_hs>;
					};
				};
			};
		};
	};

	hpm2: usb-pd@8 {
		compatible = "apple,sn201202x";
		reg = <0x8 SPMI_USID>;
		interrupts = <63 IRQ_TYPE_EDGE_RISING>,
			     <65 IRQ_TYPE_EDGE_RISING>,
			     <69 IRQ_TYPE_EDGE_RISING>,
			     <71 IRQ_TYPE_EDGE_RISING>;
		interrupt-names = "irq", "select", "sleep", "wake";
		apple,event-irq-in-sleep;
		/* Retimer set up before Linux keeps SuperSpeed down until replugged. */
		apple,reset-inherited-usb2-connection;

		typec2: connector {
			compatible = "usb-c-connector";
			label = "USB-C Back 3";
			power-role = "dual";
			data-role = "dual";

			ports {
				#address-cells = <1>;
				#size-cells = <0>;

				port@0 {
					reg = <0>;
					typec2_connector_hs: endpoint {
						remote-endpoint = <&dwc3_2_hs>;
					};
				};
			};
		};
	};
};

&atcphy0 {
	apple,tunable-usb2-host = <0x8 0x7003 0x3>;
	status = "okay";
};

&dwc3_0_dart_0 {
	status = "okay";
};

&dwc3_0_dart_1 {
	status = "okay";
};

&dwc3_0 {
	maximum-speed = "high-speed";
	phys = <&atcphy0 PHY_TYPE_USB2>;
	phy-names = "usb2-phy";
	apple,tunable-gbl-host = <0x4 0x0001ef00 0x00002f00>, <0x1c 0x00000100 0x0>,
		<0x2c 0x000a07ff 0x000800c8>, <0x100 0x02000100 0x02000100>,
		<0x504 0x00001000 0x0>, <0x528 0xff0000ff 0x06000006>,
		<0x52c 0xff0000ff 0x08000008>, <0x538 0x00000800 0x00000800>,
		<0x580 0xffffffff 0x6f000006>;
	apple,tunable-cfg-host = <0x20 0xff 0x1b>;
	status = "okay";

	ports {
		#address-cells = <1>;
		#size-cells = <0>;

		port@0 {
			reg = <0>;
			dwc3_0_hs: endpoint {
				remote-endpoint = <&typec0_connector_hs>;
			};
		};
	};
};

&atcphy1 {
	apple,tunable-usb2-host = <0x8 0x7003 0x3>;
	status = "okay";
};

&dwc3_1_dart_0 {
	status = "okay";
};

&dwc3_1_dart_1 {
	status = "okay";
};

&dwc3_1 {
	maximum-speed = "high-speed";
	phys = <&atcphy1 PHY_TYPE_USB2>;
	phy-names = "usb2-phy";
	apple,tunable-gbl-host = <0x4 0x0001ef00 0x00002f00>, <0x1c 0x00000100 0x0>,
		<0x2c 0x000a07ff 0x000800c8>, <0x100 0x02000100 0x02000100>,
		<0x504 0x00001000 0x0>, <0x528 0xff0000ff 0x06000006>,
		<0x52c 0xff0000ff 0x08000008>, <0x538 0x00000800 0x00000800>,
		<0x580 0xffffffff 0x6f000006>;
	apple,tunable-cfg-host = <0x20 0xff 0x1b>;
	status = "okay";

	ports {
		#address-cells = <1>;
		#size-cells = <0>;

		port@0 {
			reg = <0>;
			dwc3_1_hs: endpoint {
				remote-endpoint = <&typec1_connector_hs>;
			};
		};
	};
};

&atcphy2 {
	apple,tunable-usb2-host = <0x8 0x7003 0x3>;
	status = "okay";
};

&dwc3_2_dart_0 {
	status = "okay";
};

&dwc3_2_dart_1 {
	status = "okay";
};

&dwc3_2 {
	maximum-speed = "high-speed";
	phys = <&atcphy2 PHY_TYPE_USB2>;
	phy-names = "usb2-phy";
	apple,tunable-gbl-host = <0x4 0x0001ef00 0x00002f00>, <0x1c 0x00000100 0x0>,
		<0x2c 0x000a07ff 0x000800c8>, <0x100 0x02000100 0x02000100>,
		<0x504 0x00001000 0x0>, <0x528 0xff0000ff 0x06000006>,
		<0x52c 0xff0000ff 0x08000008>, <0x538 0x00000800 0x00000800>,
		<0x580 0xffffffff 0x6f000006>;
	apple,tunable-cfg-host = <0x20 0xff 0x1b>;
	status = "okay";

	ports {
		#address-cells = <1>;
		#size-cells = <0>;

		port@0 {
			reg = <0>;
			dwc3_2_hs: endpoint {
				remote-endpoint = <&typec2_connector_hs>;
			};
		};
	};
};

/* The boot loader fills opp-hz and opp-microvolt from the ADT perf-states */
/ {
	reserved-memory {
		#address-cells = <2>;
		#size-cells = <2>;
		ranges;

		gpu_uat_ttbs: uat-ttbs {
			no-map;
			status = "disabled";
		};

		gpu_uat_pagetables: uat-pagetables {
			no-map;
			status = "disabled";
		};

		gpu_uat_l2_pagetables: uat-l2-pagetables {
			no-map;
			status = "disabled";
		};

		gpu_uat_handoff: uat-handoff {
			no-map;
			status = "disabled";
		};

		gpu_fw_text: gpu-fw-text {
			no-map;
			status = "disabled";
		};

		gpu_fw_data: gpu-fw-data {
			no-map;
			status = "disabled";
		};
	};

	gpu_opp: opp-table-gpu {
		compatible = "operating-points-v2";

		opp00 {
			opp-hz = /bits/ 64 <0>;
			opp-microvolt = <125000 125000 125000 125000>;
		};

		opp01 {
			opp-hz = /bits/ 64 <338000000>;
			opp-microvolt = <600000 600000 600000 600000>;
		};

		opp02 {
			opp-hz = /bits/ 64 <618000000>;
			opp-microvolt = <665000 665000 660000 660000>;
		};

		opp03 {
			opp-hz = /bits/ 64 <796000000>;
			opp-microvolt = <705000 705000 700000 705000>;
		};

		opp04 {
			opp-hz = /bits/ 64 <924000000>;
			opp-microvolt = <725000 725000 715000 730000>;
		};

		opp05 {
			opp-hz = /bits/ 64 <952000000>;
			opp-microvolt = <770000 770000 770000 780000>;
		};

		opp06 {
			opp-hz = /bits/ 64 <1056000000>;
			opp-microvolt = <770000 770000 770000 780000>;
		};

		opp07 {
			opp-hz = /bits/ 64 <1062000000>;
			opp-microvolt = <810000 810000 805000 810000>;
		};

		opp08 {
			opp-hz = /bits/ 64 <1182000000>;
			opp-microvolt = <810000 810000 805000 810000>;
		};

		opp09 {
			opp-hz = /bits/ 64 <1182000000>;
			opp-microvolt = <860000 860000 860000 860000>;
		};

		opp10 {
			opp-hz = /bits/ 64 <1312000000>;
			opp-microvolt = <860000 860000 860000 860000>;
		};

		opp11 {
			opp-hz = /bits/ 64 <1242000000>;
			opp-microvolt = <900000 895000 900000 900000>;
		};

		opp12 {
			opp-hz = /bits/ 64 <1380000000>;
			opp-microvolt = <900000 895000 900000 900000>;
		};

		opp13 {
			opp-hz = /bits/ 64 <1326000000>;
			opp-microvolt = <940000 925000 940000 940000>;
		};

		opp14 {
			opp-hz = /bits/ 64 <1470000000>;
			opp-microvolt = <940000 925000 940000 940000>;
		};

		opp15 {
			opp-hz = /bits/ 64 <1578000000>;
			opp-microvolt = <1020000 1020000 1020000 1020000>;
		};
	};

	gpu_cs_opp: opp-table-gpucs {
		compatible = "operating-points-v2";

		opp00 {
			opp-hz = /bits/ 64 <24000000>;
			opp-microvolt = <585000>;
		};

		opp01 {
			opp-hz = /bits/ 64 <338000000>;
			opp-microvolt = <585000>;
		};

		opp02 {
			opp-hz = /bits/ 64 <618000000>;
			opp-microvolt = <635000>;
		};

		opp03 {
			opp-hz = /bits/ 64 <796000000>;
			opp-microvolt = <685000>;
		};

		opp04 {
			opp-hz = /bits/ 64 <992000000>;
			opp-microvolt = <720000>;
		};

		opp05 {
			opp-hz = /bits/ 64 <1188000000>;
			opp-microvolt = <770000>;
		};

		opp06 {
			opp-hz = /bits/ 64 <1380000000>;
			opp-microvolt = <855000>;
		};

		opp07 {
			opp-hz = /bits/ 64 <1470000000>;
			opp-microvolt = <885000>;
		};
	};

	gpu_afr_opp: opp-table-gpuafr {
		compatible = "operating-points-v2";

		opp00 {
			opp-hz = /bits/ 64 <24000000>;
			opp-microvolt = <585000>;
		};

		opp01 {
			opp-hz = /bits/ 64 <338000000>;
			opp-microvolt = <585000>;
		};

		opp02 {
			opp-hz = /bits/ 64 <618000000>;
			opp-microvolt = <635000>;
		};

		opp03 {
			opp-hz = /bits/ 64 <796000000>;
			opp-microvolt = <685000>;
		};

		opp04 {
			opp-hz = /bits/ 64 <992000000>;
			opp-microvolt = <720000>;
		};

		opp05 {
			opp-hz = /bits/ 64 <1188000000>;
			opp-microvolt = <770000>;
		};

		opp06 {
			opp-hz = /bits/ 64 <1380000000>;
			opp-microvolt = <855000>;
		};

		opp07 {
			opp-hz = /bits/ 64 <1470000000>;
			opp-microvolt = <885000>;
		};
	};
};

&gpu {
		memory-region = <&gpu_uat_ttbs>, <&gpu_uat_pagetables>,
				<&gpu_uat_handoff>, <&gpu_fw_data>,
				<&gpu_uat_l2_pagetables>, <&gpu_fw_text>;
		memory-region-names = "ttbs", "pagetables", "handoff", "fw-data",
				      "l2-pagetables", "fw-text";
		operating-points-v2 = <&gpu_opp>;
		apple,cs-opp = <&gpu_cs_opp>;
		apple,afr-opp = <&gpu_afr_opp>;
		apple,firmware-version = <26 5 2>;
};

/ {
	/* ADT audio-speaker function-reset: AP pin 54 (0x36) */
	speaker_sdz: regulator-sn012776-sdz {
		compatible = "regulator-fixed";
		regulator-name = "sn012776-sdz";
		gpios = <&pinctrl 54 GPIO_ACTIVE_HIGH>;
		enable-active-high;
	};

	/*
	 * The speaker: the AOP audio component's speaker back-end (DAI 3) to
	 * the SN012776. The card holds the amp at its lowest volume step until
	 * a protection daemon takes the volume lock.
	 */
	sound: sound {
		compatible = "apple,j575c-macaudio", "apple,macaudio";
		model = "Mac Studio J575";
		#address-cells = <1>;
		#size-cells = <0>;

		dai-link@0 {
			reg = <0>;
			link-name = "Speaker";

			cpu {
				sound-dai = <&aop_audio 3>;
			};

			codec {
				sound-dai = <&speaker>;
			};
		};
	};

	sound_jack: sound-jack {
		compatible = "apple,j575c-macaudio-jack", "apple,macaudio";
		model = "Mac Studio J575 Jack";
		#address-cells = <1>;
		#size-cells = <0>;

		dai-link@0 {
			reg = <0>;
			link-name = "Headphone Jack";

			cpu {
				sound-dai = <&aop_audio 4>;
			};

			codec {
				sound-dai = <&jack_codec>;
			};
		};
	};
};

&aop {
	status = "okay";
};

&aop_mbox {
	status = "okay";
};

&aop_dart {
	status = "okay";
};

&admac0 {
	status = "okay";
};

&admac1 {
	status = "okay";
};

/*
 * No microphones. ADT iop-audio-controller: the speaker stream on base-ns
 * ADMAC channel 0 (TX0), the jack's on channels 4 and 5. The firmware runs
 * the speaker serializer in the J616s frame, sense included, on RX0.
 */
&aop_audio {
	dmas = <&admac1 0>, <&admac1 1>, <&admac1 4>, <&admac1 5>;
	dma-names = "spkr", "sense", "cout", "cin";
	apple,chassis-name = "J575";
	apple,machine-kind = "Mac Studio";
};

/* ADT /arm-io/i2c1/audio-speaker: one SN012776 at 0x38, interrupt AP 55 */
&i2c1 {
	status = "okay";

	speaker: codec@38 {
		compatible = "ti,sn012776", "ti,tas2764";
		reg = <0x38>;
		SDZ-supply = <&speaker_sdz>;
		#sound-dai-cells = <0>;
		interrupts-extended = <&pinctrl 55 IRQ_TYPE_LEVEL_LOW>;
		ti,imon-slot-no = <0>;
		ti,vmon-slot-no = <2>;
	};
};

/* ADT i2c2/audio-codec-output: CS42L84 at 0x4b, reset nub pin 58, IRQ 106 */
&i2c2 {
	status = "okay";

	jack_codec: codec@4b {
		compatible = "cirrus,cs42l84";
		reg = <0x4b>;
		reset-gpios = <&pinctrl_nub 58 GPIO_ACTIVE_HIGH>;
		#sound-dai-cells = <0>;
		interrupts-extended = <&pinctrl 106 IRQ_TYPE_LEVEL_LOW>;
		sound-name-prefix = "Jack";
	};
};

&aop {
	nonposted-mmio;
};

/* No ambient light sensor and no lid. */
&aop_als {
	status = "disabled";
};

&aop_las {
	status = "disabled";
};

&admac1 {
	dma-channels = <26>;
	nonposted-mmio;
};

&admac0 {
	nonposted-mmio;
};

&aop_dart {
	nonposted-mmio;
};

&i2c1 {
	nonposted-mmio;
};

&i2c2 {
	nonposted-mmio;
};

/ {
	reserved-memory {
		aop_mmio_pmgr: aop-mmio-pmgr@508304000 {
			reg = <0x5 0x08304000 0x0 0x4000>;
			iommu-addresses = <&aop 0x5 0x08304000 0x0 0x4000>;
			no-map;
		};
	};
};

&aop {
	memory-region = <&aop_mmio_pmgr>;
};

/*
 * iBoot leaves the external display processors running with their firmware
 * loaded. There is no panel, so the boot loader never hands the internal DCP
 * over: it hands over each external processor's firmware memory on its own
 * and then enables the display subsystem (found through the disp0 alias; dcp
 * has to be there too), and the display gate enables the chains that have
 * firmware memory.
 */
&display {
	phandle = <&display>;
};

&disp0_piodma {
	phandle = <&disp0_piodma>;
};

#include "t604x-extdisp.dtsi"

/*
 * ATC3 is the fourth back Type-C port, not the J616c's HDMI PHY: drop that
 * description, and t6041-j575c-atc3.dtsi describes the port instead. Its
 * display crossbar (atcphy3_xbar) is the port's and stays.
 */
/delete-node/ &atcphy3;
/delete-node/ &atcphy3_mbox;

#include "t6041-j575c-atc3.dtsi"
#include "t6041-j575c-usb3.dtsi"
#include "t6041-j575c-usbc.dtsi"
#include "t6041-j575c-usbc-dcpext2.dtsi"
#include "t6041-j575c-hdmi.dtsi"

/* Not described: the SEP (no Touch ID sensor). */

/*
 * The PMP, as the M4 Max MacBook Pros run it. The pmp alias lets the loader
 * copy this Mac's PMP values from the ADT and enable the PMP. The GPU sits on
 * the PMP's GPU domain: a running PMP otherwise treats the GPU as off and
 * holds it at its lowest state.
 */
&pmp_dart {
	status = "okay";
};

&pmp_report {
	status = "okay";
};

&pmp_mbox {
	status = "okay";
};

&pmc {
	apple,pmp = <&pmp>;
	status = "okay";
};

&gpu {
	power-domains = <&pmp_gfx>;
};
